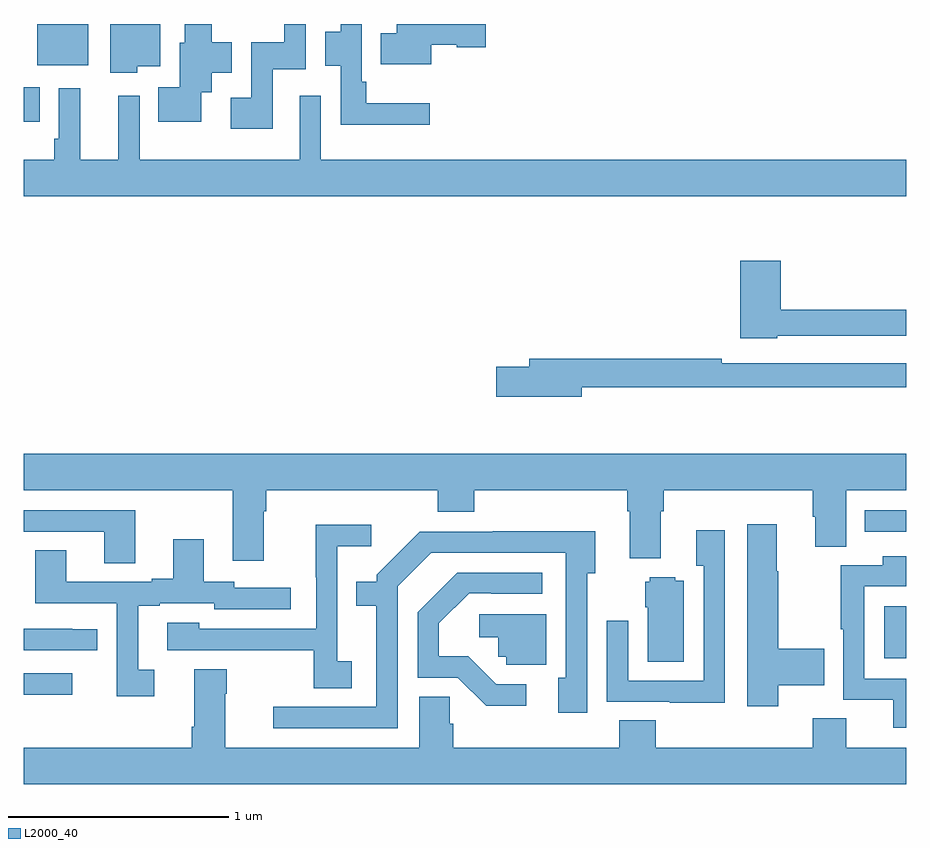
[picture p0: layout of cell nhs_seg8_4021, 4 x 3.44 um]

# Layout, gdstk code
import gdstk
lib = gdstk.Library(unit=1e-6, precision=1e-09)
def R(c, l, rs):  # rectangles x0, y0, x1, y1
    for r in rs: c.add(gdstk.rectangle(r[:2], r[2:], *l))
def P(c, l, *ps):  # polygons
    for p in ps: c.add(gdstk.Polygon(p, *l))
L2000_40 = (2000, 40)

nhs_seg8_4021 = lib.new_cell('nhs_seg8_4021')
R(nhs_seg8_4021, L2000_40, [(357,1160.86,357.22,1160.958), (360.899,1161.026,361,1161.262), (360.812,1161.6,361,1161.696), (357,1163.456,357.074,1163.614), (357.062,1163.714,357.292,1163.9)])
P(nhs_seg8_4021, L2000_40, [(357.804,1163.591),(357.853,1163.591),(357.853,1163.678),(357.943,1163.678),(357.943,1163.818),(357.853,1163.818),(357.853,1163.9),(357.731,1163.9),(357.731,1163.814),(357.707,1163.814),(357.707,1163.614),(357.61,1163.614),(357.61,1163.456),(357.804,1163.456)],
  [(358.128,1163.696),(358.278,1163.696),(358.278,1163.9),(358.18,1163.9),(358.18,1163.818),(358.032,1163.818),(358.032,1163.566),(357.939,1163.566),(357.939,1163.426),(358.128,1163.426)],
  [(357.514,1163.708),(357.619,1163.708),(357.619,1163.9),(357.392,1163.9),(357.392,1163.678),(357.514,1163.678)],
  [(358.84,1163.542),(358.553,1163.542),(358.553,1163.638),(358.533,1163.638),(358.533,1163.9),(358.437,1163.9),(358.437,1163.865),(358.367,1163.865),(358.367,1163.71),(358.437,1163.71),(358.437,1163.444),(358.84,1163.444)],
  [(358.846,1163.807),(358.962,1163.807),(358.962,1163.795),(359.095,1163.795),(359.095,1163.9),(358.691,1163.9),(358.691,1163.857),(358.618,1163.857),(358.618,1163.717),(358.846,1163.717)],
  [(361,1163.284),(358.347,1163.284),(358.347,1163.575),(358.251,1163.575),(358.251,1163.284),(357.525,1163.284),(357.525,1163.575),(357.428,1163.575),(357.428,1163.284),(357.256,1163.284),(357.256,1163.608),(357.159,1163.608),(357.159,1163.38),(357.139,1163.38),(357.139,1163.284),(357,1163.284),(357,1163.12),(361,1163.12)],
  [(360.414,1162.488),(361,1162.488),(361,1162.604),(360.431,1162.604),(360.431,1162.828),(360.248,1162.828),(360.248,1162.475),(360.414,1162.475)],
  [(359.53,1162.254),(361,1162.254),(361,1162.362),(360.164,1162.362),(360.164,1162.382),(359.291,1162.382),(359.291,1162.346),(359.142,1162.346),(359.142,1162.211),(359.53,1162.211)],
  [(358.087,1161.692),(358.1,1161.692),(358.1,1161.788),(358.877,1161.788),(358.877,1161.689),(359.042,1161.689),(359.042,1161.788),(359.735,1161.788),(359.735,1161.692),(359.747,1161.692),(359.747,1161.479),(359.887,1161.479),(359.887,1161.692),(359.9,1161.692),(359.9,1161.788),(360.575,1161.788),(360.575,1161.666),(360.587,1161.666),(360.587,1161.532),(360.727,1161.532),(360.727,1161.788),(361,1161.788),(361,1161.952),(357,1161.952),(357,1161.788),(357.947,1161.788),(357.947,1161.468),(358.087,1161.468)],
  [(357.505,1161.696),(357,1161.696),(357,1161.6),(357.365,1161.6),(357.365,1161.457),(357.505,1161.457)],
  [(360.42,1160.903),(360.629,1160.903),(360.629,1161.069),(360.42,1161.069),(360.42,1161.421),(360.412,1161.421),(360.412,1161.634),(360.278,1161.634),(360.278,1160.808),(360.42,1160.808)],
  [(358.486,1161.012),(358.422,1161.012),(358.422,1161.533),(358.576,1161.533),(358.576,1161.631),(358.324,1161.631),(358.324,1161.392),(358.326,1161.392),(358.326,1161.159),(357.795,1161.159),(357.795,1161.187),(357.651,1161.187),(357.651,1161.063),(358.009,1161.063),(358.009,1161.061),(358.314,1161.061),(358.314,1160.89),(358.486,1160.89)],
  [(360.177,1161.607),(360.047,1161.607),(360.047,1161.446),(360.081,1161.446),(360.081,1160.925),(359.739,1160.925),(359.739,1161.196),(359.643,1161.196),(359.643,1160.829),(359.927,1160.829),(359.927,1160.825),(360.177,1160.825)],
  [(358.695,1161.351),(358.848,1161.504),(359.457,1161.504),(359.457,1160.938),(359.423,1160.938),(359.423,1160.778),(359.553,1160.778),(359.553,1161.41),(359.59,1161.41),(359.59,1161.602),(359.125,1161.602),(359.125,1161.6),(358.794,1161.6),(358.599,1161.405),(358.599,1161.373),(358.507,1161.373),(358.507,1161.264),(358.598,1161.264),(358.598,1160.805),(358.131,1160.805),(358.131,1160.709),(358.695,1160.709)],
  [(357.592,1160.973),(357.52,1160.973),(357.52,1161.264),(357.616,1161.264),(357.616,1161.276),(357.864,1161.276),(357.864,1161.249),(358.21,1161.249),(358.21,1161.345),(357.954,1161.345),(357.954,1161.372),(357.817,1161.372),(357.817,1161.565),(357.677,1161.565),(357.677,1161.385),(357.581,1161.385),(357.581,1161.372),(357.193,1161.372),(357.193,1161.515),(357.053,1161.515),(357.053,1161.276),(357.423,1161.276),(357.423,1160.853),(357.592,1160.853)],
  [(361,1160.934),(360.81,1160.934),(360.81,1161.351),(361,1161.351),(361,1161.487),(360.892,1161.487),(360.892,1161.447),(360.702,1161.447),(360.702,1161.157),(360.714,1161.157),(360.714,1160.838),(360.941,1160.838),(360.941,1160.712),(361,1160.712)],
  [(359.278,1160.907),(359.142,1160.907),(359.015,1161.034),(358.882,1161.034),(358.882,1161.184),(359.019,1161.321),(359.119,1161.321),(359.119,1161.318),(359.35,1161.318),(359.35,1161.414),(358.964,1161.414),(358.785,1161.235),(358.785,1160.937),(358.968,1160.937),(359.096,1160.81),(359.278,1160.81)],
  [(359.992,1161.376),(359.952,1161.376),(359.952,1161.394),(359.838,1161.394),(359.838,1161.372),(359.816,1161.372),(359.816,1161.258),(359.828,1161.258),(359.828,1161.01),(359.992,1161.01)],
  [(359.368,1161.225),(359.064,1161.225),(359.064,1161.122),(359.151,1161.122),(359.151,1161.033),(359.187,1161.033),(359.187,1160.997),(359.368,1160.997)],
  [(357.334,1161.158),(357.221,1161.158),(357.221,1161.159),(357,1161.159),(357,1161.063),(357.334,1161.063)],
  [(361,1160.62),(360.727,1160.62),(360.727,1160.753),(360.575,1160.753),(360.575,1160.62),(359.864,1160.62),(359.864,1160.744),(359.699,1160.744),(359.699,1160.62),(358.946,1160.62),(358.946,1160.73),(358.931,1160.73),(358.931,1160.852),(358.793,1160.852),(358.793,1160.62),(357.913,1160.62),(357.913,1160.864),(357.921,1160.864),(357.921,1160.977),(357.773,1160.977),(357.773,1160.716),(357.761,1160.716),(357.761,1160.62),(357,1160.62),(357,1160.456),(361,1160.456)])

lib.write_gds('nhs_seg8_4021.gds')
